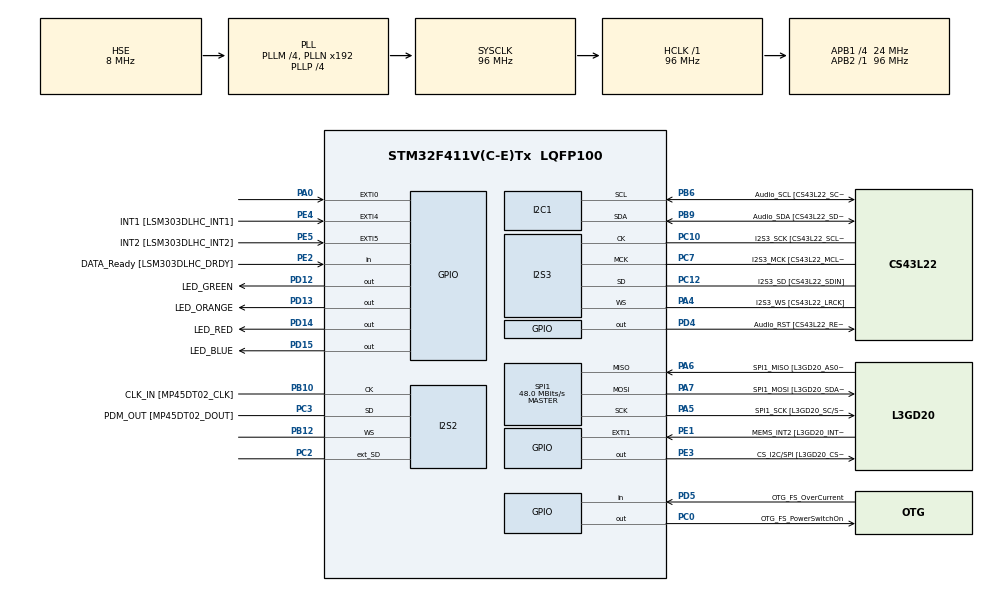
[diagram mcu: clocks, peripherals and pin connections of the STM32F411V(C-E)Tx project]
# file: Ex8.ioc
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FREERTOS.BinarySemaphores01=CriticalResourceSemaphore,Dynamic,NULL
FREERTOS.INCLUDE_vTaskDelayUntil=1
FREERTOS.Tasks01=FlashGreenLed,0,128,StartFlashGreenLedTask,Default,NULL,Dynamic,NULL,NULL;FlashRedLed,0,128,StartFlashRedLedTask,Default,NULL,Dynamic,NULL,NULL;FlashOrangeLed,1,128,StartFlashOrangeLedTask,Default,NULL,Dynamic,NULL,NULL
FREERTOS.configUSE_NEWLIB_REENTRANT=1
I2S2.AudioFreq=I2S_AUDIOFREQ_96K
I2S2.ErrorAudioFreq=0.15 %
I2S2.FullDuplexMode=I2S_FULLDUPLEXMODE_ENABLE
I2S2.Instance=SPI$Index
I2S2.RealAudioFreq=96.153 KHz
I2S2.VirtualMode=I2S_MODE_MASTER
I2S3.AudioFreq=I2S_AUDIOFREQ_96K
I2S3.ErrorAudioFreq=-6.99 %
I2S3.FullDuplexMode=I2S_FULLDUPLEXMODE_DISABLE
I2S3.Instance=SPI$Index
I2S3.RealAudioFreq=89.285 KHz
I2S3.VirtualMode=I2S_MODE_MASTER
Mcu.Family=STM32F4
Mcu.Name=STM32F411V(C-E)Tx
Mcu.Package=LQFP100
NVIC.PriorityGroup=NVIC_PRIORITYGROUP_4
NVIC.TIM1_UP_TIM10_IRQn=true\:15\:0\:false\:false\:true\:false\:false\:true\:true
NVIC.TimeBase=TIM1_UP_TIM10_IRQn
NVIC.TimeBaseIP=TIM1
PA0-WKUP.GPIO_ModeDefaultEXTI=GPIO_MODE_EVT_RISING
PA0-WKUP.Signal=GPXTI0
PA10.GPIO_Label=OTG_FS_ID
PA10.Signal=USB_OTG_FS_ID
PA11.GPIO_Label=OTG_FS_DM
PA11.Signal=USB_OTG_FS_DM
PA12.GPIO_Label=OTG_FS_DP
PA12.Signal=USB_OTG_FS_DP
PA13.GPIO_Label=SWDIO
PA13.Mode=Serial_Wire
PA13.Signal=SYS_JTMS-SWDIO
PA14.GPIO_Label=SWCLK
PA14.Mode=Serial_Wire
PA14.Signal=SYS_JTCK-SWCLK
PA4.GPIO_Label=I2S3_WS [CS43L22_LRCK]
PA4.GPIO_Mode=GPIO_MODE_AF_PP
PA4.GPIO_PuPd=GPIO_NOPULL
PA4.GPIO_Speed=GPIO_SPEED_FREQ_LOW
PA4.Mode=Half_Duplex_Master
PA4.Signal=I2S3_WS
PA5.GPIO_Label=SPI1_SCK [L3GD20_SC/SPC]
PA5.Mode=Full_Duplex_Master
PA5.Signal=SPI1_SCK
PA6.GPIO_Label=SPI1_MISO [L3GD20_AS0/SDO]
PA6.Mode=Full_Duplex_Master
PA6.Signal=SPI1_MISO
PA7.GPIO_Label=SPI1_MOSI [L3GD20_SDA/SDI/SDO]
PA7.Mode=Full_Duplex_Master
PA7.Signal=SPI1_MOSI
PA9.GPIO_Label=VBUS_FS
PA9.Signal=USB_OTG_FS_VBUS
PB10.GPIO_Label=CLK_IN [MP45DT02_CLK]
PB10.Mode=Full_Duplex_Master
PB10.Signal=I2S2_CK
PB12.Mode=Full_Duplex_Master
PB12.Signal=I2S2_WS
PB3.GPIO_Label=SWO
PB3.Signal=SYS_JTDO-SWO
PB6.GPIO_Label=Audio_SCL [CS43L22_SCL]
PB6.GPIO_Mode=GPIO_MODE_AF_OD
PB6.GPIO_Pu=GPIO_PULLUP
PB6.GPIO_PuPd=GPIO_NOPULL
PB6.GPIO_Speed=GPIO_SPEED_FREQ_LOW
PB6.Mode=I2C
PB6.Signal=I2C1_SCL
PB9.GPIO_Label=Audio_SDA [CS43L22_SDA]
PB9.GPIO_Mode=GPIO_MODE_AF_OD
PB9.GPIO_Pu=GPIO_PULLUP
PB9.GPIO_PuPd=GPIO_NOPULL
PB9.GPIO_Speed=GPIO_SPEED_FREQ_LOW
PB9.Mode=I2C
PB9.Signal=I2C1_SDA
PC0.GPIO_Label=OTG_FS_PowerSwitchOn
PC0.PinState=GPIO_PIN_SET
PC0.Signal=GPIO_Output
PC10.GPIO_Label=I2S3_SCK [CS43L22_SCLK]
PC10.GPIO_Mode=GPIO_MODE_AF_PP
PC10.GPIO_PuPd=GPIO_NOPULL
PC10.GPIO_Speed=GPIO_SPEED_FREQ_LOW
PC10.Mode=Half_Duplex_Master
PC10.Signal=I2S3_CK
PC12.GPIO_Label=I2S3_SD [CS43L22_SDIN]
PC12.GPIO_Mode=GPIO_MODE_AF_PP
PC12.GPIO_PuPd=GPIO_NOPULL
PC12.GPIO_Speed=GPIO_SPEED_FREQ_LOW
PC12.Mode=Half_Duplex_Master
PC12.Signal=I2S3_SD
PC14-OSC32_IN.GPIO_Label=PC14-OSC32_IN
PC14-OSC32_IN.Mode=LSE-External-Oscillator
PC14-OSC32_IN.Signal=RCC_OSC32_IN
PC15-OSC32_OUT.GPIO_Label=PC15-OSC32_OUT
PC15-OSC32_OUT.Mode=LSE-External-Oscillator
PC15-OSC32_OUT.Signal=RCC_OSC32_OUT
PC2.Mode=Full_Duplex_Master
PC2.Signal=I2S2_ext_SD
PC3.GPIO_Label=PDM_OUT [MP45DT02_DOUT]
PC3.Mode=Full_Duplex_Master
PC3.Signal=I2S2_SD
PC7.GPIO_Label=I2S3_MCK [CS43L22_MCLK]
PC7.GPIO_Mode=GPIO_MODE_AF_PP
PC7.GPIO_PuPd=GPIO_NOPULL
PC7.GPIO_Speed=GPIO_SPEED_FREQ_LOW
PC7.Mode=Master_Clock_Activated
PC7.Signal=I2S3_MCK
PD12.GPIO_Label=LED_GREEN
PD12.GPIO_PuPd=GPIO_NOPULL
PD12.GPIO_Speed=GPIO_SPEED_FREQ_LOW
PD12.Signal=GPIO_Output
PD13.GPIO_Label=LED_ORANGE
PD13.GPIO_PuPd=GPIO_NOPULL
PD13.GPIO_Speed=GPIO_SPEED_FREQ_LOW
PD13.Signal=GPIO_Output
PD14.GPIO_Label=LED_RED
PD14.GPIO_PuPd=GPIO_NOPULL
PD14.GPIO_Speed=GPIO_SPEED_FREQ_LOW
PD14.Signal=GPIO_Output
PD15.GPIO_Label=LED_BLUE
PD15.GPIO_PuPd=GPIO_NOPULL
PD15.GPIO_Speed=GPIO_SPEED_FREQ_LOW
PD15.Signal=GPIO_Output
PD4.GPIO_Label=Audio_RST [CS43L22_RESET]
PD4.Signal=GPIO_Output
PD5.GPIO_Label=OTG_FS_OverCurrent
PD5.Signal=GPIO_Input
PE1.GPIO_Label=MEMS_INT2 [L3GD20_INT2]
PE1.GPIO_ModeDefaultEXTI=GPIO_MODE_EVT_RISING
PE1.Signal=GPXTI1
PE2.GPIO_Label=DATA_Ready [LSM303DLHC_DRDY]
PE2.Signal=GPIO_Input
PE3.GPIO_Label=CS_I2C/SPI [L3GD20_CS_I2C/SPI]
PE3.Signal=GPIO_Output
PE4.GPIO_Label=INT1 [LSM303DLHC_INT1]
PE4.GPIO_ModeDefaultEXTI=GPIO_MODE_EVT_RISING
PE4.Signal=GPXTI4
PE5.GPIO_Label=INT2 [LSM303DLHC_INT2]
PE5.GPIO_ModeDefaultEXTI=GPIO_MODE_EVT_RISING
PE5.Signal=GPXTI5
PH0\ -\ OSC_IN.GPIO_Label=PH0-OSC_IN
PH0\ -\ OSC_IN.Mode=HSE-External-Oscillator
PH0\ -\ OSC_IN.Signal=RCC_OSC_IN
PH1\ -\ OSC_OUT.GPIO_Label=PH1-OSC_OUT
PH1\ -\ OSC_OUT.Mode=HSE-External-Oscillator
PH1\ -\ OSC_OUT.Signal=RCC_OSC_OUT
ProjectManager.HeapSize=0x200
ProjectManager.StackSize=0x400
ProjectManager.TargetToolchain=STM32CubeIDE
RCC.48MHZClocksFreq_Value=48000000
RCC.AHBFreq_Value=96000000
RCC.APB1CLKDivider=RCC_HCLK_DIV4
RCC.APB1Freq_Value=24000000
RCC.APB1TimFreq_Value=48000000
RCC.APB2Freq_Value=96000000
RCC.APB2TimFreq_Value=96000000
RCC.CortexFreq_Value=96000000
RCC.HCLKFreq_Value=96000000
RCC.HSE_VALUE=8000000
RCC.HSI_VALUE=16000000
RCC.PLLI2SM=5
RCC.PLLI2SN=200
RCC.PLLM=4
RCC.PLLP=RCC_PLLP_DIV4
RCC.PLLQ=8
RCC.PLLSourceVirtual=RCC_PLLSOURCE_HSE
RCC.SYSCLKFreq_VALUE=96000000
RCC.SYSCLKSource=RCC_SYSCLKSOURCE_PLLCLK
RCC.VCOOutputFreq_Value=384000000
SPI1.BaudRatePrescaler=SPI_BAUDRATEPRESCALER_2
SPI1.CalculateBaudRate=48.0 MBits/s
SPI1.Direction=SPI_DIRECTION_2LINES
SPI1.Mode=SPI_MODE_MASTER
SPI1.VirtualType=VM_MASTER
VP_FREERTOS_VS_CMSIS_V1.Mode=CMSIS_V1
VP_SYS_VS_tim1.Mode=TIM1
board=STM32F411E-DISCO

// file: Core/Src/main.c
/* USER CODE BEGIN Header */
/**
  ******************************************************************************
  * @file           : main.c
  * @brief          : Main program body
  ******************************************************************************
  * @attention
  *
  * Copyright (c) 2024 STMicroelectronics.
  * All rights reserved.
  *
  * This software is licensed under terms that can be found in the LICENSE file
  * in the root directory of this software component.
  * If no LICENSE file comes with this software, it is provided AS-IS.
  *
  ******************************************************************************
  */
/* USER CODE END Header */
#include "main.h"
#include "cmsis_os.h"

/* USER CODE BEGIN PD */
#define GREEN_LED GPIO_PIN_12
#define ORANGE_LED GPIO_PIN_13
#define RED_LED GPIO_PIN_14
#define BLUE_LED GPIO_PIN_15
/* USER CODE END PD */

I2C_HandleTypeDef hi2c1;

I2S_HandleTypeDef hi2s2;
I2S_HandleTypeDef hi2s3;

SPI_HandleTypeDef hspi1;

osThreadId FlashGreenLedHandle;
osThreadId FlashRedLedHandle;
osThreadId FlashOrangeLedHandle;
osSemaphoreId CriticalResourceSemaphoreHandle;

void SystemClock_Config(void);
void PeriphCommonClock_Config(void);
static void MX_GPIO_Init(void);
static void MX_I2C1_Init(void);
static void MX_I2S2_Init(void);
static void MX_I2S3_Init(void);
static void MX_SPI1_Init(void);
void StartFlashGreenLedTask(void const * argument);
void StartFlashRedLedTask(void const * argument);
void StartFlashOrangeLedTask(void const * argument);

int main(void)
{

  /* MCU Configuration--------------------------------------------------------*/

  /* Reset of all peripherals, Initializes the Flash interface and the Systick. */
  HAL_Init();

  /* Configure the system clock */
  SystemClock_Config();

/* Configure the peripherals common clocks */
  PeriphCommonClock_Config();

  /* Initialize all configured peripherals */
  MX_GPIO_Init();
  MX_I2C1_Init();
  MX_I2S2_Init();
  MX_I2S3_Init();
  MX_SPI1_Init();

  /* Create the semaphores(s) */
  /* definition and creation of CriticalResourceSemaphore */
  osSemaphoreDef(CriticalResourceSemaphore);
  CriticalResourceSemaphoreHandle = osSemaphoreCreate(osSemaphore(CriticalResourceSemaphore), 1);

  /* Create the thread(s) */
  /* definition and creation of FlashGreenLed */
  osThreadDef(FlashGreenLed, StartFlashGreenLedTask, osPriorityNormal, 0, 128);
  FlashGreenLedHandle = osThreadCreate(osThread(FlashGreenLed), NULL);

  /* definition and creation of FlashRedLed */
  osThreadDef(FlashRedLed, StartFlashRedLedTask, osPriorityNormal, 0, 128);
  FlashRedLedHandle = osThreadCreate(osThread(FlashRedLed), NULL);

  /* definition and creation of FlashOrangeLed */
  osThreadDef(FlashOrangeLed, StartFlashOrangeLedTask, osPriorityAboveNormal, 0, 128);
  FlashOrangeLedHandle = osThreadCreate(osThread(FlashOrangeLed), NULL);

  /* Start scheduler */
  osKernelStart();

  /* We should never get here as control is now taken by the scheduler */
  /* Infinite loop */
  while (1)
  {

  }
}

void SystemClock_Config(void)
{
  RCC_OscInitTypeDef RCC_OscInitStruct = {0};
  RCC_ClkInitTypeDef RCC_ClkInitStruct = {0};

  /** Configure the main internal regulator output voltage
  */
  __HAL_RCC_PWR_CLK_ENABLE();
  __HAL_PWR_VOLTAGESCALING_CONFIG(PWR_REGULATOR_VOLTAGE_SCALE1);

  /** Initializes the RCC Oscillators according to the specified parameters
  * in the RCC_OscInitTypeDef structure.
  */
  RCC_OscInitStruct.OscillatorType = RCC_OSCILLATORTYPE_HSE;
  RCC_OscInitStruct.HSEState = RCC_HSE_ON;
  RCC_OscInitStruct.PLL.PLLState = RCC_PLL_ON;
  RCC_OscInitStruct.PLL.PLLSource = RCC_PLLSOURCE_HSE;
  RCC_OscInitStruct.PLL.PLLM = 4;
  RCC_OscInitStruct.PLL.PLLN = 192;
  RCC_OscInitStruct.PLL.PLLP = RCC_PLLP_DIV4;
  RCC_OscInitStruct.PLL.PLLQ = 8;
  if (HAL_RCC_OscConfig(&RCC_OscInitStruct) != HAL_OK)
  {
    Error_Handler();
  }

  /** Initializes the CPU, AHB and APB buses clocks
  */
  RCC_ClkInitStruct.ClockType = RCC_CLOCKTYPE_HCLK|RCC_CLOCKTYPE_SYSCLK
                              |RCC_CLOCKTYPE_PCLK1|RCC_CLOCKTYPE_PCLK2;
  RCC_ClkInitStruct.SYSCLKSource = RCC_SYSCLKSOURCE_PLLCLK;
  RCC_ClkInitStruct.AHBCLKDivider = RCC_SYSCLK_DIV1;
  RCC_ClkInitStruct.APB1CLKDivider = RCC_HCLK_DIV4;
  RCC_ClkInitStruct.APB2CLKDivider = RCC_HCLK_DIV1;

  if (HAL_RCC_ClockConfig(&RCC_ClkInitStruct, FLASH_LATENCY_3) != HAL_OK)
  {
    Error_Handler();
  }
}

void PeriphCommonClock_Config(void)
{
  RCC_PeriphCLKInitTypeDef PeriphClkInitStruct = {0};

  /** Initializes the peripherals clock
  */
  PeriphClkInitStruct.PeriphClockSelection = RCC_PERIPHCLK_I2S;
  PeriphClkInitStruct.PLLI2S.PLLI2SN = 200;
  PeriphClkInitStruct.PLLI2S.PLLI2SM = 5;
  PeriphClkInitStruct.PLLI2S.PLLI2SR = 2;
  if (HAL_RCCEx_PeriphCLKConfig(&PeriphClkInitStruct) != HAL_OK)
  {
    Error_Handler();
  }
}

static void MX_I2C1_Init(void)
{

  hi2c1.Instance = I2C1;
  hi2c1.Init.ClockSpeed = 100000;
  hi2c1.Init.DutyCycle = I2C_DUTYCYCLE_2;
  hi2c1.Init.OwnAddress1 = 0;
  hi2c1.Init.AddressingMode = I2C_ADDRESSINGMODE_7BIT;
  hi2c1.Init.DualAddressMode = I2C_DUALADDRESS_DISABLE;
  hi2c1.Init.OwnAddress2 = 0;
  hi2c1.Init.GeneralCallMode = I2C_GENERALCALL_DISABLE;
  hi2c1.Init.NoStretchMode = I2C_NOSTRETCH_DISABLE;
  if (HAL_I2C_Init(&hi2c1) != HAL_OK)
  {
    Error_Handler();
  }

}

static void MX_I2S2_Init(void)
{

  hi2s2.Instance = SPI2;
  hi2s2.Init.Mode = I2S_MODE_MASTER_TX;
  hi2s2.Init.Standard = I2S_STANDARD_PHILIPS;
  hi2s2.Init.DataFormat = I2S_DATAFORMAT_16B;
  hi2s2.Init.MCLKOutput = I2S_MCLKOUTPUT_DISABLE;
  hi2s2.Init.AudioFreq = I2S_AUDIOFREQ_96K;
  hi2s2.Init.CPOL = I2S_CPOL_LOW;
  hi2s2.Init.ClockSource = I2S_CLOCK_PLL;
  hi2s2.Init.FullDuplexMode = I2S_FULLDUPLEXMODE_ENABLE;
  if (HAL_I2S_Init(&hi2s2) != HAL_OK)
  {
    Error_Handler();
  }

}

static void MX_I2S3_Init(void)
{

  hi2s3.Instance = SPI3;
  hi2s3.Init.Mode = I2S_MODE_MASTER_TX;
  hi2s3.Init.Standard = I2S_STANDARD_PHILIPS;
  hi2s3.Init.DataFormat = I2S_DATAFORMAT_16B;
  hi2s3.Init.MCLKOutput = I2S_MCLKOUTPUT_ENABLE;
  hi2s3.Init.AudioFreq = I2S_AUDIOFREQ_96K;
  hi2s3.Init.CPOL = I2S_CPOL_LOW;
  hi2s3.Init.ClockSource = I2S_CLOCK_PLL;
  hi2s3.Init.FullDuplexMode = I2S_FULLDUPLEXMODE_DISABLE;
  if (HAL_I2S_Init(&hi2s3) != HAL_OK)
  {
    Error_Handler();
  }

}

static void MX_SPI1_Init(void)
{

  /* SPI1 parameter configuration*/
  hspi1.Instance = SPI1;
  hspi1.Init.Mode = SPI_MODE_MASTER;
  hspi1.Init.Direction = SPI_DIRECTION_2LINES;
  hspi1.Init.DataSize = SPI_DATASIZE_8BIT;
  hspi1.Init.CLKPolarity = SPI_POLARITY_LOW;
  hspi1.Init.CLKPhase = SPI_PHASE_1EDGE;
  hspi1.Init.NSS = SPI_NSS_SOFT;
  hspi1.Init.BaudRatePrescaler = SPI_BAUDRATEPRESCALER_2;
  hspi1.Init.FirstBit = SPI_FIRSTBIT_MSB;
  hspi1.Init.TIMode = SPI_TIMODE_DISABLE;
  hspi1.Init.CRCCalculation = SPI_CRCCALCULATION_DISABLE;
  hspi1.Init.CRCPolynomial = 10;
  if (HAL_SPI_Init(&hspi1) != HAL_OK)
  {
    Error_Handler();
  }

}

static void MX_GPIO_Init(void)
{
  GPIO_InitTypeDef GPIO_InitStruct = {0};

  /* GPIO Ports Clock Enable */
  __HAL_RCC_GPIOE_CLK_ENABLE();
  __HAL_RCC_GPIOC_CLK_ENABLE();
  __HAL_RCC_GPIOH_CLK_ENABLE();
  __HAL_RCC_GPIOA_CLK_ENABLE();
  __HAL_RCC_GPIOB_CLK_ENABLE();
  __HAL_RCC_GPIOD_CLK_ENABLE();

  /*Configure GPIO pin Output Level */
  HAL_GPIO_WritePin(CS_I2C_SPI_GPIO_Port, CS_I2C_SPI_Pin, GPIO_PIN_RESET);

  /*Configure GPIO pin Output Level */
  HAL_GPIO_WritePin(OTG_FS_PowerSwitchOn_GPIO_Port, OTG_FS_PowerSwitchOn_Pin, GPIO_PIN_SET);

  /*Configure GPIO pin Output Level */
  HAL_GPIO_WritePin(GPIOD, LED_GREEN_Pin|LED_ORANGE_Pin|LED_RED_Pin|LED_BLUE_Pin
                          |Audio_RST_Pin, GPIO_PIN_RESET);

  /*Configure GPIO pin : DATA_Ready_Pin */
  GPIO_InitStruct.Pin = DATA_Ready_Pin;
  GPIO_InitStruct.Mode = GPIO_MODE_INPUT;
  GPIO_InitStruct.Pull = GPIO_NOPULL;
  HAL_GPIO_Init(DATA_Ready_GPIO_Port, &GPIO_InitStruct);

  /*Configure GPIO pin : CS_I2C_SPI_Pin */
  GPIO_InitStruct.Pin = CS_I2C_SPI_Pin;
  GPIO_InitStruct.Mode = GPIO_MODE_OUTPUT_PP;
  GPIO_InitStruct.Pull = GPIO_NOPULL;
  GPIO_InitStruct.Speed = GPIO_SPEED_FREQ_LOW;
  HAL_GPIO_Init(CS_I2C_SPI_GPIO_Port, &GPIO_InitStruct);

  /*Configure GPIO pins : INT1_Pin INT2_Pin MEMS_INT2_Pin */
  GPIO_InitStruct.Pin = INT1_Pin|INT2_Pin|MEMS_INT2_Pin;
  GPIO_InitStruct.Mode = GPIO_MODE_EVT_RISING;
  GPIO_InitStruct.Pull = GPIO_NOPULL;
  HAL_GPIO_Init(GPIOE, &GPIO_InitStruct);

  /*Configure GPIO pin : OTG_FS_PowerSwitchOn_Pin */
  GPIO_InitStruct.Pin = OTG_FS_PowerSwitchOn_Pin;
  GPIO_InitStruct.Mode = GPIO_MODE_OUTPUT_PP;
  GPIO_InitStruct.Pull = GPIO_NOPULL;
  GPIO_InitStruct.Speed = GPIO_SPEED_FREQ_LOW;
  HAL_GPIO_Init(OTG_FS_PowerSwitchOn_GPIO_Port, &GPIO_InitStruct);

  /*Configure GPIO pin : PA0 */
  GPIO_InitStruct.Pin = GPIO_PIN_0;
  GPIO_InitStruct.Mode = GPIO_MODE_EVT_RISING;
  GPIO_InitStruct.Pull = GPIO_NOPULL;
  HAL_GPIO_Init(GPIOA, &GPIO_InitStruct);

  /*Configure GPIO pins : LED_GREEN_Pin LED_ORANGE_Pin LED_RED_Pin LED_BLUE_Pin
                           Audio_RST_Pin */
  GPIO_InitStruct.Pin = LED_GREEN_Pin|LED_ORANGE_Pin|LED_RED_Pin|LED_BLUE_Pin
                          |Audio_RST_Pin;
  GPIO_InitStruct.Mode = GPIO_MODE_OUTPUT_PP;
  GPIO_InitStruct.Pull = GPIO_NOPULL;
  GPIO_InitStruct.Speed = GPIO_SPEED_FREQ_LOW;
  HAL_GPIO_Init(GPIOD, &GPIO_InitStruct);

  /*Configure GPIO pin : VBUS_FS_Pin */
  GPIO_InitStruct.Pin = VBUS_FS_Pin;
  GPIO_InitStruct.Mode = GPIO_MODE_INPUT;
  GPIO_InitStruct.Pull = GPIO_NOPULL;
  HAL_GPIO_Init(VBUS_FS_GPIO_Port, &GPIO_InitStruct);

  /*Configure GPIO pins : OTG_FS_ID_Pin OTG_FS_DM_Pin OTG_FS_DP_Pin */
  GPIO_InitStruct.Pin = OTG_FS_ID_Pin|OTG_FS_DM_Pin|OTG_FS_DP_Pin;
  GPIO_InitStruct.Mode = GPIO_MODE_AF_PP;
  GPIO_InitStruct.Pull = GPIO_NOPULL;
  GPIO_InitStruct.Speed = GPIO_SPEED_FREQ_VERY_HIGH;
  GPIO_InitStruct.Alternate = GPIO_AF10_OTG_FS;
  HAL_GPIO_Init(GPIOA, &GPIO_InitStruct);

  /*Configure GPIO pin : OTG_FS_OverCurrent_Pin */
  GPIO_InitStruct.Pin = OTG_FS_OverCurrent_Pin;
  GPIO_InitStruct.Mode = GPIO_MODE_INPUT;
  GPIO_InitStruct.Pull = GPIO_NOPULL;
  HAL_GPIO_Init(OTG_FS_OverCurrent_GPIO_Port, &GPIO_InitStruct);

}

/* USER CODE BEGIN 4 */
int Start_Flag = 1;
void Access_Function(){
	if(Start_Flag == 1){
		Start_Flag = 0;
	}else {
		HAL_GPIO_TogglePin(GPIOD, BLUE_LED);
	}//else
	for(int i=0;i<2000000;++i);
	Start_Flag = 1;
	return;
}//access function
/* USER CODE END 4 */

void StartFlashGreenLedTask(void const * argument)
{
  /* USER CODE BEGIN 5 */
  /* Infinite loop */
  for(;;)
  {
	  /*Exercise 8*/
	  HAL_GPIO_TogglePin(GPIOD, LED_GREEN_Pin);//green on
	  osSemaphoreWait(CriticalResourceSemaphoreHandle, osWaitForever);//semaphore P (i.e. wait)
	  Access_Function();//access shared data
	  osSemaphoreRelease(CriticalResourceSemaphoreHandle);//semaphore V (i.e. signal)
	  osDelay(200);//200 Millisecond delay
	  HAL_GPIO_TogglePin(GPIOD, LED_GREEN_Pin);//green off
	  osDelay(200);//200 Millisecond delay
	  /**/
  }
  /* USER CODE END 5 */
}

void StartFlashRedLedTask(void const * argument)
{
  /* USER CODE BEGIN StartFlashRedLedTask */
  /* Infinite loop */
  for(;;)
  {
	  /*Exercise 8*/
	  HAL_GPIO_TogglePin(GPIOD, LED_RED_Pin);//red on
	  osSemaphoreWait(CriticalResourceSemaphoreHandle, osWaitForever);//semaphore P (i.e. wait)
	  Access_Function();//access shared data
	  osSemaphoreRelease(CriticalResourceSemaphoreHandle);//semaphore V (i.e. signal)
	  osDelay(550);//550 Millisecond delay
	  HAL_GPIO_TogglePin(GPIOD, LED_RED_Pin);//red off
	  osDelay(550);//550 Millisecond delay
	  /**/
  }
  /* USER CODE END StartFlashRedLedTask */
}

void StartFlashOrangeLedTask(void const * argument)
{
  /* USER CODE BEGIN StartFlashOrangeLedTask */
  /* Infinite loop */
  for(;;)
  {
	  HAL_GPIO_TogglePin(GPIOD, ORANGE_LED);//orange on
	  osDelay(50);//50 Millisecond delay
  }
  /* USER CODE END StartFlashOrangeLedTask */
}

void HAL_TIM_PeriodElapsedCallback(TIM_HandleTypeDef *htim)
{
  if (htim->Instance == TIM1) {
    HAL_IncTick();
  }
}

void Error_Handler(void)
{
  __disable_irq();
  while (1)
  {
  }
}
